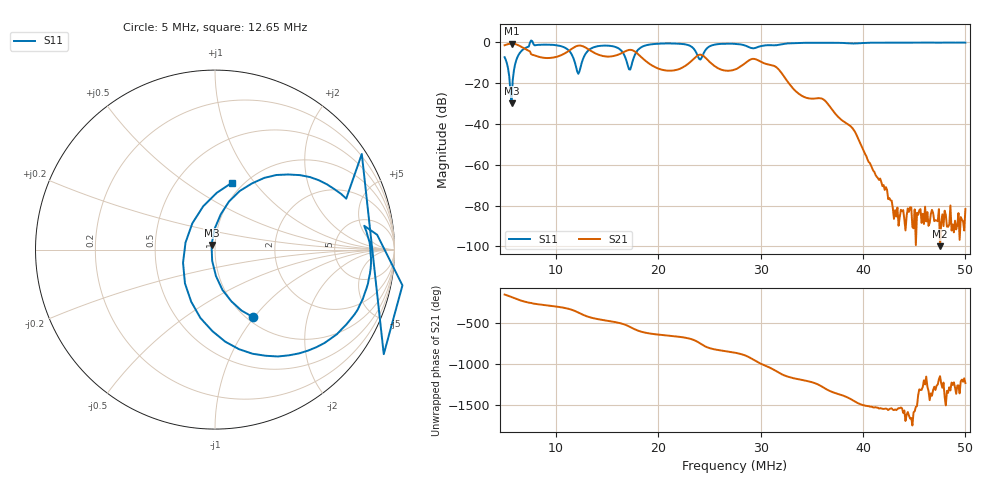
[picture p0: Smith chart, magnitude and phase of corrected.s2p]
! S11/S21 only; reverse parameters are placeholders. Device calibration unverified.
! [Saver CAL applied] C:\Users\aknya\MyProjects\rf-simulator\calibration2.cal | Ideal standards assumed | Input: NanoVNA F V2 profile | COM3 | 2026-09-08T12:26:14.0595298-04:00 | device calibration unverified
# HZ S RI R 50
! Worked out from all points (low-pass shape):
!   401 points, 5 MHz to 50 MHz, reference 50 ohm
!   highest |S21| = -0.68 dB at 5.675 MHz (marker M1); lowest = -99.9 dB at 47.52 MHz (marker M2)
!   |S21| within 3 dB of the highest: start of sweep to 7.156 MHz; 11.43 MHz to 13.26 MHz (1.828 MHz wide, 14.8 % of centre)
!   lowest |S11| = -29.8 dB at 5.675 MHz (marker M3), VSWR 1.07, Z = 48 + j2.48 ohm
!   |S11| at or under -10 dB: 5.2 MHz to 6.071 MHz (870.8 kHz wide, 15.5 % of centre); 11.87 MHz to 12.54 MHz (669.2 kHz wide, 5.48 % of centre); 16.95 MHz to 17.46 MHz (510 kHz wide, 2.96 % of centre)
!   S12 and S22 are empty: the file has one direction only
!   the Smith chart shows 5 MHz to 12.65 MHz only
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5000000  0.2107 -0.3755  -0.6927 -0.4831  0 0  0 0
5675000  -0.0193 0.0258  -0.9222 -0.0659  0 0  0 0
6687500  0.4728 0.415  -0.5579 0.5166  0 0  0 0
7812500  0.9031 0.0829  -0.1191 0.4714  0 0  0 0
1.11875e7  0.2825 -0.5915  0.444 0.3968  0 0  0 0
1.25375e7  0.0106 0.3171  0.73 -0.3604  0 0  0 0
1.355e7  0.6584 0.3038  0.1859 -0.5585  0 0  0 0
1.47875e7  0.8203 -0.1214  -0.0903 -0.4426  0 0  0 0
1.63625e7  0.3239 -0.5476  -0.4007 -0.3486  0 0  0 0
1.715e7  -0.2063 -0.0684  -0.6459 -0.0458  0 0  0 0
1.805e7  0.3801 0.5407  -0.3332 0.3825  0 0  0 0
2.0075e7  0.9218 0.0421  0.0285 0.2214  0 0  0 0
2.39e7  0.344 -0.2696  0.4751 -0.077  0 0  0 0
2.46875e7  0.677 0.0354  0.1564 -0.3697  0 0  0 0
2.75e7  0.8028 -0.4413  -0.1587 -0.1459  0 0  0 0
2.975e7  0.6883 -0.3399  -0.0802 0.3531  0 0  0 0
3.1325e7  0.7223 -0.4355  0.2587 0.045  0 0  0 0
3.50375e7  0.7008 -0.6698  -0.0323 -0.026  0 0  0 0
3.8975e7  0.532 -0.7632  0.00784 -3.3e-05  0 0  0 0
4.2575e7  0.4439 -0.8699  -5.41e-05 -0.000144  0 0  0 0
4.7525e7  0.2355 -0.9461  4.03e-06 -9.28e-06  0 0  0 0
5e7  0.1598 -0.966  -7.21e-05 -3.89e-05  0 0  0 0
